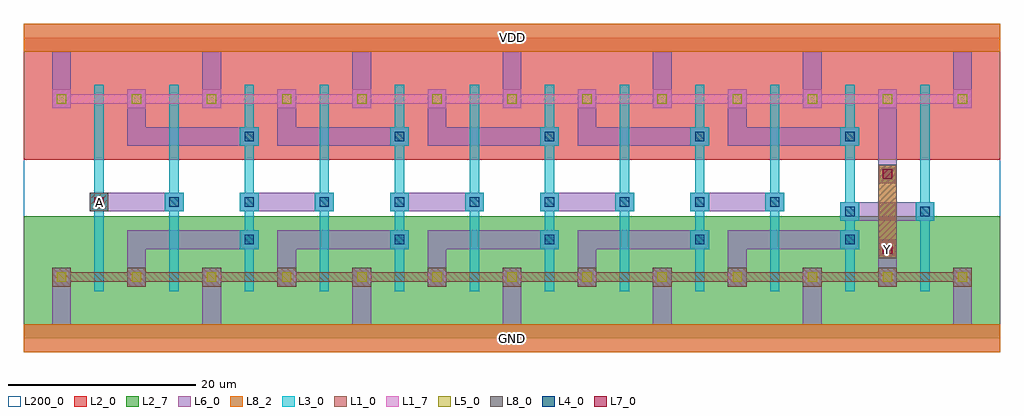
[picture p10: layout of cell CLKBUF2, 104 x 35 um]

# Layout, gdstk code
import gdstk
lib = gdstk.Library(unit=1e-6, precision=1e-09)
def R(c, l, rs):  # rectangles x0, y0, x1, y1
    for r in rs: c.add(gdstk.rectangle(r[:2], r[2:], *l))
def A(c, l, x, y, w, h, nx, ny, dx, dy):  # array of equal rectangles
    R(c, l, [(x+i*dx, y+j*dy, x+i*dx+w, y+j*dy+h) for i in range(nx) for j in range(ny)])
def P(c, l, *ps):  # polygons
    for p in ps: c.add(gdstk.Polygon(p, *l))
L1_0 = (1, 0)
L1_7 = (1, 7)
L2_0 = (2, 0)
L2_7 = (2, 7)
L3_0 = (3, 0)
L4_0 = (4, 0)
L5_0 = (5, 0)
L6_0 = (6, 0)
L7_0 = (7, 0)
L8_0 = (8, 0)
L8_2 = (8, 2)
L200_0 = (200, 0)

clkbuf2 = lib.new_cell('CLKBUF2')
P(clkbuf2, L1_0, [(3,5.5),(3,7.5),(5,7.5),(5,7),(11,7),(11,7.5),(13,7.5),(13,7),(19,7),(19,7.5),(21,7.5),(21,7),(27,7),(27,7.5),(29,7.5),(29,7),(35,7),(35,7.5),(37,7.5),(37,7),(43,7),(43,7.5),(45,7.5),(45,7),(51,7),(51,7.5),(53,7.5),(53,7),(59,7),(59,7.5),(61,7.5),(61,7),(67,7),(67,7.5),(69,7.5),(69,7),(75,7),(75,7.5),(77,7.5),(77,7),(83,7),(83,7.5),(85,7.5),(85,7),(91,7),(91,7.5),(93,7.5),(93,7),(99,7),(99,7.5),(101,7.5),(101,5.5),(99,5.5),(99,6),(93,6),(93,5.5),(91,5.5),(91,6),(85,6),(85,5.5),(83,5.5),(83,6),(77,6),(77,5.5),(75,5.5),(75,6),(69,6),(69,5.5),(67,5.5),(67,6),(61,6),(61,5.5),(59,5.5),(59,6),(53,6),(53,5.5),(51,5.5),(51,6),(45,6),(45,5.5),(43,5.5),(43,6),(37,6),(37,5.5),(35,5.5),(35,6),(29,6),(29,5.5),(27,5.5),(27,6),(21,6),(21,5.5),(19,5.5),(19,6),(13,6),(13,5.5),(11,5.5),(11,6),(5,6),(5,5.5)])
P(clkbuf2, L1_7, [(3,24.5),(3,26.5),(5,26.5),(5,26),(11,26),(11,26.5),(13,26.5),(13,26),(19,26),(19,26.5),(21,26.5),(21,26),(27,26),(27,26.5),(29,26.5),(29,26),(35,26),(35,26.5),(37,26.5),(37,26),(43,26),(43,26.5),(45,26.5),(45,26),(51,26),(51,26.5),(53,26.5),(53,26),(59,26),(59,26.5),(61,26.5),(61,26),(67,26),(67,26.5),(69,26.5),(69,26),(75,26),(75,26.5),(77,26.5),(77,26),(83,26),(83,26.5),(85,26.5),(85,26),(91,26),(91,26.5),(93,26.5),(93,26),(99,26),(99,26.5),(101,26.5),(101,24.5),(99,24.5),(99,25),(93,25),(93,24.5),(91,24.5),(91,25),(85,25),(85,24.5),(83,24.5),(83,25),(77,25),(77,24.5),(75,24.5),(75,25),(69,25),(69,24.5),(67,24.5),(67,25),(61,25),(61,24.5),(59,24.5),(59,25),(53,25),(53,24.5),(51,24.5),(51,25),(45,25),(45,24.5),(43,24.5),(43,25),(37,25),(37,24.5),(35,24.5),(35,25),(29,25),(29,24.5),(27,24.5),(27,25),(21,25),(21,24.5),(19,24.5),(19,25),(13,25),(13,24.5),(11,24.5),(11,25),(5,25),(5,24.5)])
R(clkbuf2, L2_0, [(0,19,104,32)])
R(clkbuf2, L2_7, [(0,0,104,13)])
P(clkbuf2, L3_0, [(7.5,5),(7.5,13.5),(7,13.5),(7,15.5),(7.5,15.5),(7.5,27),(8.5,27),(8.5,15.5),(9,15.5),(9,13.5),(8.5,13.5),(8.5,5)],
  [(15.5,5),(15.5,13.5),(15,13.5),(15,15.5),(15.5,15.5),(15.5,27),(16.5,27),(16.5,15.5),(17,15.5),(17,13.5),(16.5,13.5),(16.5,5)],
  [(23.5,5),(23.5,9.5),(23,9.5),(23,11.5),(23.5,11.5),(23.5,13.5),(23,13.5),(23,15.5),(23.5,15.5),(23.5,20.5),(23,20.5),(23,22.5),(23.5,22.5),(23.5,27),(24.5,27),(24.5,22.5),(25,22.5),(25,20.5),(24.5,20.5),(24.5,15.5),(25,15.5),(25,13.5),(24.5,13.5),(24.5,11.5),(25,11.5),(25,9.5),(24.5,9.5),(24.5,5)],
  [(31.5,5),(31.5,13.5),(31,13.5),(31,15.5),(31.5,15.5),(31.5,27),(32.5,27),(32.5,15.5),(33,15.5),(33,13.5),(32.5,13.5),(32.5,5)],
  [(39.5,5),(39.5,9.5),(39,9.5),(39,11.5),(39.5,11.5),(39.5,13.5),(39,13.5),(39,15.5),(39.5,15.5),(39.5,20.5),(39,20.5),(39,22.5),(39.5,22.5),(39.5,27),(40.5,27),(40.5,22.5),(41,22.5),(41,20.5),(40.5,20.5),(40.5,15.5),(41,15.5),(41,13.5),(40.5,13.5),(40.5,11.5),(41,11.5),(41,9.5),(40.5,9.5),(40.5,5)],
  [(47.5,5),(47.5,13.5),(47,13.5),(47,15.5),(47.5,15.5),(47.5,27),(48.5,27),(48.5,15.5),(49,15.5),(49,13.5),(48.5,13.5),(48.5,5)],
  [(55.5,5),(55.5,9.5),(55,9.5),(55,11.5),(55.5,11.5),(55.5,13.5),(55,13.5),(55,15.5),(55.5,15.5),(55.5,20.5),(55,20.5),(55,22.5),(55.5,22.5),(55.5,27),(56.5,27),(56.5,22.5),(57,22.5),(57,20.5),(56.5,20.5),(56.5,15.5),(57,15.5),(57,13.5),(56.5,13.5),(56.5,11.5),(57,11.5),(57,9.5),(56.5,9.5),(56.5,5)],
  [(63.5,5),(63.5,13.5),(63,13.5),(63,15.5),(63.5,15.5),(63.5,27),(64.5,27),(64.5,15.5),(65,15.5),(65,13.5),(64.5,13.5),(64.5,5)],
  [(71.5,5),(71.5,9.5),(71,9.5),(71,11.5),(71.5,11.5),(71.5,13.5),(71,13.5),(71,15.5),(71.5,15.5),(71.5,20.5),(71,20.5),(71,22.5),(71.5,22.5),(71.5,27),(72.5,27),(72.5,22.5),(73,22.5),(73,20.5),(72.5,20.5),(72.5,15.5),(73,15.5),(73,13.5),(72.5,13.5),(72.5,11.5),(73,11.5),(73,9.5),(72.5,9.5),(72.5,5)],
  [(79.5,5),(79.5,13.5),(79,13.5),(79,15.5),(79.5,15.5),(79.5,27),(80.5,27),(80.5,15.5),(81,15.5),(81,13.5),(80.5,13.5),(80.5,5)],
  [(87.5,5),(87.5,9.5),(87,9.5),(87,11.5),(87.5,11.5),(87.5,12.5),(87,12.5),(87,14.5),(87.5,14.5),(87.5,20.5),(87,20.5),(87,22.5),(87.5,22.5),(87.5,27),(88.5,27),(88.5,22.5),(89,22.5),(89,20.5),(88.5,20.5),(88.5,14.5),(89,14.5),(89,12.5),(88.5,12.5),(88.5,11.5),(89,11.5),(89,9.5),(88.5,9.5),(88.5,5)],
  [(95.5,5),(95.5,12.5),(95,12.5),(95,14.5),(95.5,14.5),(95.5,27),(96.5,27),(96.5,14.5),(97,14.5),(97,12.5),(96.5,12.5),(96.5,5)])
A(clkbuf2, L4_0, 23.5, 10, 1, 1, 5, 2, 16, 11)
A(clkbuf2, L4_0, 7.5, 14, 1, 1, 10, 1, 8, 0)
R(clkbuf2, L4_0, [(87.5,13,88.5,14), (95.5,13,96.5,14)])
A(clkbuf2, L5_0, 3.5, 6, 1, 1, 13, 2, 8, 19)
A(clkbuf2, L6_0, 7, 13.5, 10, 2, 5, 1, 16, 0)
R(clkbuf2, L6_0, [(91,5.5,93,10.5), (87,12.5,97,14.5), (91,16.5,93,26.5)])
P(clkbuf2, L6_0, [(0,-1.5),(0,1.5),(3,1.5),(3,7.5),(5,7.5),(5,1.5),(19,1.5),(19,7.5),(21,7.5),(21,1.5),(35,1.5),(35,7.5),(37,7.5),(37,1.5),(51,1.5),(51,7.5),(53,7.5),(53,1.5),(67,1.5),(67,7.5),(69,7.5),(69,1.5),(83,1.5),(83,7.5),(85,7.5),(85,1.5),(99,1.5),(99,7.5),(101,7.5),(101,1.5),(104,1.5),(104,-1.5)],
  [(11,5.5),(11,11.5),(25,11.5),(25,9.5),(13,9.5),(13,5.5)],
  [(27,5.5),(27,11.5),(41,11.5),(41,9.5),(29,9.5),(29,5.5)],
  [(43,5.5),(43,11.5),(57,11.5),(57,9.5),(45,9.5),(45,5.5)],
  [(59,5.5),(59,11.5),(73,11.5),(73,9.5),(61,9.5),(61,5.5)],
  [(75,5.5),(75,11.5),(89,11.5),(89,9.5),(77,9.5),(77,5.5)],
  [(11,20.5),(11,26.5),(13,26.5),(13,22.5),(25,22.5),(25,20.5)],
  [(27,20.5),(27,26.5),(29,26.5),(29,22.5),(41,22.5),(41,20.5)],
  [(43,20.5),(43,26.5),(45,26.5),(45,22.5),(57,22.5),(57,20.5)],
  [(59,20.5),(59,26.5),(61,26.5),(61,22.5),(73,22.5),(73,20.5)],
  [(75,20.5),(75,26.5),(77,26.5),(77,22.5),(89,22.5),(89,20.5)],
  [(3,24.5),(3,30.5),(0,30.5),(0,33.5),(104,33.5),(104,30.5),(101,30.5),(101,24.5),(99,24.5),(99,30.5),(85,30.5),(85,24.5),(83,24.5),(83,30.5),(69,30.5),(69,24.5),(67,24.5),(67,30.5),(53,30.5),(53,24.5),(51,24.5),(51,30.5),(37,30.5),(37,24.5),(35,24.5),(35,30.5),(21,30.5),(21,24.5),(19,24.5),(19,30.5),(5,30.5),(5,24.5)])
R(clkbuf2, L7_0, [(91.5,9,92.5,10), (7.5,14,8.5,15), (91.5,17,92.5,18)])
R(clkbuf2, L8_0, [(91,8.5,93,18.5), (7,13.5,9,15.5)])
R(clkbuf2, L8_2, [(91,8.5,93,18.5), (7,13.5,9,15.5)])
R(clkbuf2, L200_0, [(0,0,104,32)])
clkbuf2.add(gdstk.FlexPath([(0,32),(104,32)], 3, ends="flush", simple_path=True, layer=8, datatype=2))  # L8_2
clkbuf2.add(gdstk.FlexPath([(0,0),(104,0)], 3, ends="flush", simple_path=True, layer=8, datatype=2))  # L8_2
clkbuf2.add(gdstk.Label('GND', (52,0), layer=6, texttype=1))
clkbuf2.add(gdstk.Label('VDD', (52,32), layer=6, texttype=1))
clkbuf2.add(gdstk.Label('A', (8,14.5), layer=8, texttype=1))
clkbuf2.add(gdstk.Label('Y', (92,9.5), layer=8, texttype=1))

lib.write_gds('CLKBUF2.gds')
